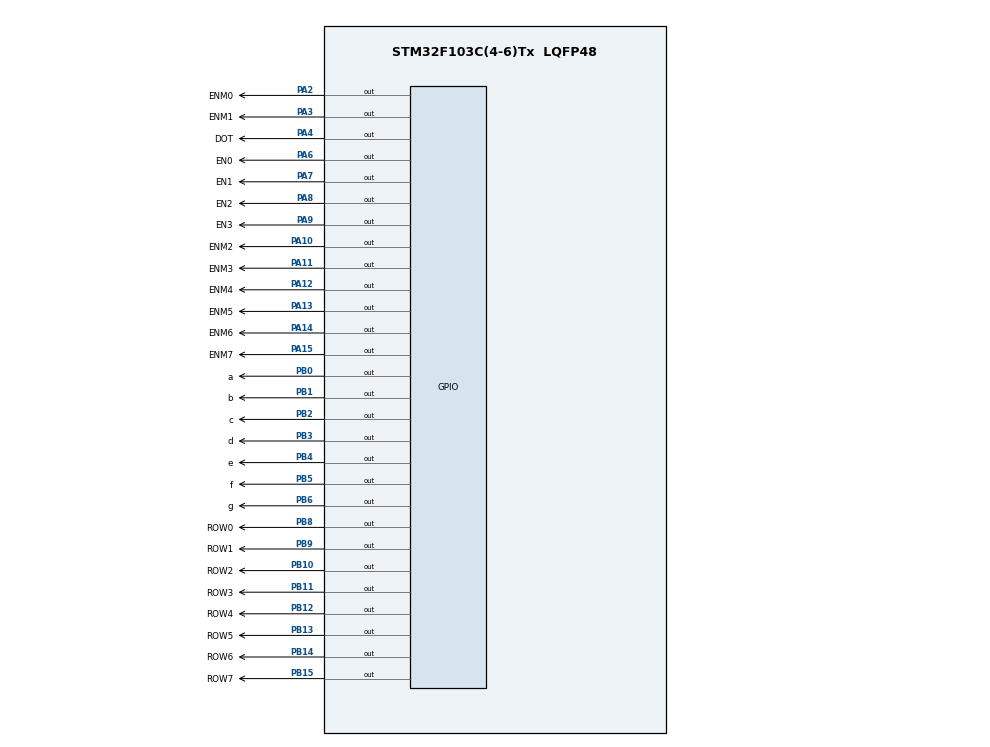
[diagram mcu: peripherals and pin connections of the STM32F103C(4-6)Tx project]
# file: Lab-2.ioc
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Mcu.Family=STM32F1
Mcu.Name=STM32F103C(4-6)Tx
Mcu.Package=LQFP48
NVIC.PriorityGroup=NVIC_PRIORITYGROUP_4
NVIC.TIM2_IRQn=true\:0\:0\:false\:false\:true\:true\:true
PA10.GPIO_Label=ENM2
PA10.Signal=GPIO_Output
PA11.GPIO_Label=ENM3
PA11.Signal=GPIO_Output
PA12.GPIO_Label=ENM4
PA12.Signal=GPIO_Output
PA13.GPIO_Label=ENM5
PA13.Signal=GPIO_Output
PA14.GPIO_Label=ENM6
PA14.Signal=GPIO_Output
PA15.GPIO_Label=ENM7
PA15.Signal=GPIO_Output
PA2.GPIO_Label=ENM0
PA2.Signal=GPIO_Output
PA3.GPIO_Label=ENM1
PA3.Signal=GPIO_Output
PA4.GPIO_Label=DOT
PA4.Signal=GPIO_Output
PA6.GPIO_Label=EN0
PA6.Signal=GPIO_Output
PA7.GPIO_Label=EN1
PA7.Signal=GPIO_Output
PA8.GPIO_Label=EN2
PA8.Signal=GPIO_Output
PA9.GPIO_Label=EN3
PA9.Signal=GPIO_Output
PB0.GPIO_Label=a
PB0.Signal=GPIO_Output
PB1.GPIO_Label=b
PB1.Signal=GPIO_Output
PB10.GPIO_Label=ROW2
PB10.Signal=GPIO_Output
PB11.GPIO_Label=ROW3
PB11.Signal=GPIO_Output
PB12.GPIO_Label=ROW4
PB12.Signal=GPIO_Output
PB13.GPIO_Label=ROW5
PB13.Signal=GPIO_Output
PB14.GPIO_Label=ROW6
PB14.Signal=GPIO_Output
PB15.GPIO_Label=ROW7
PB15.Signal=GPIO_Output
PB2.GPIO_Label=c
PB2.Signal=GPIO_Output
PB3.GPIO_Label=d
PB3.Signal=GPIO_Output
PB4.GPIO_Label=e
PB4.Signal=GPIO_Output
PB5.GPIO_Label=f
PB5.Signal=GPIO_Output
PB6.GPIO_Label=g
PB6.Signal=GPIO_Output
PB8.GPIO_Label=ROW0
PB8.Signal=GPIO_Output
PB9.GPIO_Label=ROW1
PB9.Signal=GPIO_Output
ProjectManager.HeapSize=0x200
ProjectManager.StackSize=0x400
ProjectManager.TargetToolchain=STM32CubeIDE
RCC.AHBFreq_Value=8000000
RCC.APB1Freq_Value=8000000
RCC.APB1TimFreq_Value=8000000
RCC.APB2Freq_Value=8000000
RCC.APB2TimFreq_Value=8000000
RCC.HCLKFreq_Value=8000000
TIM2.Period=9
TIM2.Prescaler=7999
VP_SYS_VS_ND.Mode=No_Debug
VP_TIM2_VS_ClockSourceINT.Mode=Internal
board=custom

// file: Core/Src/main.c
/* USER CODE BEGIN Header */
/**
  ******************************************************************************
  * @file           : main.c
  * @brief          : Main program body
  ******************************************************************************
  * @attention
  *
  * <h2><center>&copy; Copyright (c) 2023 STMicroelectronics.
  * All rights reserved.</center></h2>
  *
  * This software component is licensed by ST under BSD 3-Clause license,
  * the "License"; You may not use this file except in compliance with the
  * License. You may obtain a copy of the License at:
  *                        opensource.org/licenses/BSD-3-Clause
  *
  ******************************************************************************
  */
/* USER CODE END Header */
#include "main.h"

TIM_HandleTypeDef htim2;

void SystemClock_Config(void);
static void MX_GPIO_Init(void);
static void MX_TIM2_Init(void);
/* USER CODE BEGIN PFP */
void HAL_TIM_PeriodElapsedCallback(TIM_HandleTypeDef *htim);
void setTimer0 ( int );
void timer_run(void);
void display7SEG (unsigned int number);
void update7SEG(int);
void updateClockBuffer(int, int);
/* USER CODE END PFP */

/* USER CODE BEGIN 0 */
#define MAX_LED 4
int index_led = 0;
int led_buffer [MAX_LED] = {0 , 0 , 0 , 0};

void display7SEG (unsigned int number)
	{
		const unsigned int ON_ = 0, OFF_ = 1;

		switch (number)
		{
			case 0:
				HAL_GPIO_WritePin(a_GPIO_Port, a_Pin, ON_);
				HAL_GPIO_WritePin(b_GPIO_Port, b_Pin, ON_);
				HAL_GPIO_WritePin(c_GPIO_Port, c_Pin, ON_);
				HAL_GPIO_WritePin(d_GPIO_Port, d_Pin, ON_);
				HAL_GPIO_WritePin(e_GPIO_Port, e_Pin, ON_);
				HAL_GPIO_WritePin(f_GPIO_Port, f_Pin, ON_);
				HAL_GPIO_WritePin(g_GPIO_Port, g_Pin, OFF_);
				break;

			case 1:
				HAL_GPIO_WritePin(a_GPIO_Port, a_Pin, OFF_);
				HAL_GPIO_WritePin(b_GPIO_Port, b_Pin, ON_);
				HAL_GPIO_WritePin(c_GPIO_Port, c_Pin, ON_);
				HAL_GPIO_WritePin(d_GPIO_Port, d_Pin, OFF_);
				HAL_GPIO_WritePin(e_GPIO_Port, e_Pin, OFF_);
				HAL_GPIO_WritePin(f_GPIO_Port, f_Pin, OFF_);
				HAL_GPIO_WritePin(g_GPIO_Port, g_Pin, OFF_);
				break;

			case 2:
				HAL_GPIO_WritePin(a_GPIO_Port, a_Pin, ON_);
				HAL_GPIO_WritePin(b_GPIO_Port, b_Pin, ON_);
				HAL_GPIO_WritePin(c_GPIO_Port, c_Pin, OFF_);
				HAL_GPIO_WritePin(d_GPIO_Port, d_Pin, ON_);
				HAL_GPIO_WritePin(e_GPIO_Port, e_Pin, ON_);
				HAL_GPIO_WritePin(f_GPIO_Port, f_Pin, OFF_);
				HAL_GPIO_WritePin(g_GPIO_Port, g_Pin, ON_);
				break;

			case 3:
				HAL_GPIO_WritePin(a_GPIO_Port, a_Pin, ON_);
				HAL_GPIO_WritePin(b_GPIO_Port, b_Pin, ON_);
				HAL_GPIO_WritePin(c_GPIO_Port, c_Pin, ON_);
				HAL_GPIO_WritePin(d_GPIO_Port, d_Pin, ON_);
				HAL_GPIO_WritePin(e_GPIO_Port, e_Pin, OFF_);
				HAL_GPIO_WritePin(f_GPIO_Port, f_Pin, OFF_);
				HAL_GPIO_WritePin(g_GPIO_Port, g_Pin, ON_);
				break;

			case 4:
				HAL_GPIO_WritePin(a_GPIO_Port, a_Pin, OFF_);
				HAL_GPIO_WritePin(b_GPIO_Port, b_Pin, ON_);
				HAL_GPIO_WritePin(c_GPIO_Port, c_Pin, ON_);
				HAL_GPIO_WritePin(d_GPIO_Port, d_Pin, OFF_);
				HAL_GPIO_WritePin(e_GPIO_Port, e_Pin, OFF_);
				HAL_GPIO_WritePin(f_GPIO_Port, f_Pin, ON_);
				HAL_GPIO_WritePin(g_GPIO_Port, g_Pin, ON_);
				break;

			case 5:
				HAL_GPIO_WritePin(a_GPIO_Port, a_Pin, ON_);
				HAL_GPIO_WritePin(b_GPIO_Port, b_Pin, OFF_);
				HAL_GPIO_WritePin(c_GPIO_Port, c_Pin, ON_);
				HAL_GPIO_WritePin(d_GPIO_Port, d_Pin, ON_);
				HAL_GPIO_WritePin(e_GPIO_Port, e_Pin, OFF_);
				HAL_GPIO_WritePin(f_GPIO_Port, f_Pin, ON_);
				HAL_GPIO_WritePin(g_GPIO_Port, g_Pin, ON_);
				break;

			case 6:
				HAL_GPIO_WritePin(a_GPIO_Port, a_Pin, ON_);
				HAL_GPIO_WritePin(b_GPIO_Port, b_Pin, OFF_);
				HAL_GPIO_WritePin(c_GPIO_Port, c_Pin, ON_);
				HAL_GPIO_WritePin(d_GPIO_Port, d_Pin, ON_);
				HAL_GPIO_WritePin(e_GPIO_Port, e_Pin, ON_);
				HAL_GPIO_WritePin(f_GPIO_Port, f_Pin, ON_);
				HAL_GPIO_WritePin(g_GPIO_Port, g_Pin, ON_);
				break;

			case 7:
				HAL_GPIO_WritePin(a_GPIO_Port, a_Pin, ON_);
				HAL_GPIO_WritePin(b_GPIO_Port, b_Pin, ON_);
				HAL_GPIO_WritePin(c_GPIO_Port, c_Pin, ON_);
				HAL_GPIO_WritePin(d_GPIO_Port, d_Pin, OFF_);
				HAL_GPIO_WritePin(e_GPIO_Port, e_Pin, OFF_);
				HAL_GPIO_WritePin(f_GPIO_Port, f_Pin, OFF_);
				HAL_GPIO_WritePin(g_GPIO_Port, g_Pin, OFF_);
				break;

			case 8:
				HAL_GPIO_WritePin(a_GPIO_Port, a_Pin, ON_);
				HAL_GPIO_WritePin(b_GPIO_Port, b_Pin, ON_);
				HAL_GPIO_WritePin(c_GPIO_Port, c_Pin, ON_);
				HAL_GPIO_WritePin(d_GPIO_Port, d_Pin, ON_);
				HAL_GPIO_WritePin(e_GPIO_Port, e_Pin, ON_);
				HAL_GPIO_WritePin(f_GPIO_Port, f_Pin, ON_);
				HAL_GPIO_WritePin(g_GPIO_Port, g_Pin, ON_);
				break;

			case 9:
				HAL_GPIO_WritePin(a_GPIO_Port, a_Pin, ON_);
				HAL_GPIO_WritePin(b_GPIO_Port, b_Pin, ON_);
				HAL_GPIO_WritePin(c_GPIO_Port, c_Pin, ON_);
				HAL_GPIO_WritePin(d_GPIO_Port, d_Pin, ON_);
				HAL_GPIO_WritePin(e_GPIO_Port, e_Pin, OFF_);
				HAL_GPIO_WritePin(f_GPIO_Port, f_Pin, ON_);
				HAL_GPIO_WritePin(g_GPIO_Port, g_Pin, ON_);
				break;

			default:
				HAL_GPIO_WritePin(a_GPIO_Port, a_Pin, OFF_);
				HAL_GPIO_WritePin(b_GPIO_Port, b_Pin, OFF_);
				HAL_GPIO_WritePin(c_GPIO_Port, c_Pin, OFF_);
				HAL_GPIO_WritePin(d_GPIO_Port, d_Pin, OFF_);
				HAL_GPIO_WritePin(e_GPIO_Port, e_Pin, OFF_);
				HAL_GPIO_WritePin(f_GPIO_Port, f_Pin, OFF_);
				HAL_GPIO_WritePin(g_GPIO_Port, g_Pin, OFF_);
				break;
		}
	}

void update7SEG(int index)
{
	const int ON_ = 0, OFF_ = 1;

	switch (index)
	{
		case 0:
		{
			display7SEG(led_buffer[index]);
			HAL_GPIO_WritePin(EN0_GPIO_Port, EN0_Pin, ON_);
			HAL_GPIO_WritePin(EN1_GPIO_Port, EN1_Pin, OFF_);
			HAL_GPIO_WritePin(EN2_GPIO_Port, EN2_Pin, OFF_);
			HAL_GPIO_WritePin(EN3_GPIO_Port, EN3_Pin, OFF_);
			break;
		}

		case 1:
		{
			display7SEG(led_buffer[index]);
			HAL_GPIO_WritePin(EN0_GPIO_Port, EN0_Pin, OFF_);
			HAL_GPIO_WritePin(EN1_GPIO_Port, EN1_Pin, ON_);
			HAL_GPIO_WritePin(EN2_GPIO_Port, EN2_Pin, OFF_);
			HAL_GPIO_WritePin(EN3_GPIO_Port, EN3_Pin, OFF_);
			break;
		}

		case 2:
		{
			display7SEG(led_buffer[index]);
			HAL_GPIO_WritePin(EN0_GPIO_Port, EN0_Pin, OFF_);
			HAL_GPIO_WritePin(EN1_GPIO_Port, EN1_Pin, OFF_);
			HAL_GPIO_WritePin(EN2_GPIO_Port, EN2_Pin, ON_);
			HAL_GPIO_WritePin(EN3_GPIO_Port, EN3_Pin, OFF_);
			break;
		}

		case 3:
		{
			display7SEG(led_buffer[index]);
			HAL_GPIO_WritePin(EN0_GPIO_Port, EN0_Pin, OFF_);
			HAL_GPIO_WritePin(EN1_GPIO_Port, EN1_Pin, OFF_);
			HAL_GPIO_WritePin(EN2_GPIO_Port, EN2_Pin, OFF_);
			HAL_GPIO_WritePin(EN3_GPIO_Port, EN3_Pin, ON_);
			break;
		}
	}
}

void updateClockBuffer(int hour, int minute)
{
	led_buffer[0] = hour / 10;
	led_buffer[1] = hour % 10;
	led_buffer[2] = minute / 10;
	led_buffer[3] = minute % 10;
}

void updateLED(void)
{
	typedef enum {ON_, OFF_} state;
	static state currentState = ON_;

	switch (currentState)
	{
		case ON_:
		{
			HAL_GPIO_WritePin(DOT_GPIO_Port, DOT_Pin, 0);
			currentState = OFF_;
			break;
		}

		case OFF_:
		{
			HAL_GPIO_WritePin(DOT_GPIO_Port, DOT_Pin, 1);
			currentState = ON_;
			break;
		}

	}
}

//ex6
int timer0_counter = 0;
int timer0_flag = 0;
int timer1_counter = 0;
int timer1_flag = 0;
int timer2_counter = 0;
int timer2_flag = 0;
int TIMER_CYCLE = 10; //this is my hardware timer interrupt period, which is 10ms

void setTimer0 ( int duration ) //to reset the timer.
{
	timer0_counter = duration / TIMER_CYCLE ; //the duration must be a divisor of hardware timer period
	timer0_flag = 0;
}
void setTimer1 ( int duration ) //to reset the timer.
{
	timer1_counter = duration / TIMER_CYCLE ; //the duration must be a divisor of hardware timer period
	timer1_flag = 0;
}
void setTimer2 ( int duration ) //to reset the timer.
{
	timer2_counter = duration / TIMER_CYCLE ; //the duration must be a divisor of hardware timer period
	timer2_flag = 0;
}

void timer_run (void) {
	if( timer0_counter > 0)
	{
		timer0_counter--;
		if( timer0_counter <= 0) timer0_flag = 1; //turn on the flag, the function will run
	}
	if( timer1_counter > 0)
	{
		timer1_counter--;
		if( timer1_counter <= 0) timer1_flag = 1; //turn on the flag, the function will run
	}
	if( timer2_counter > 0)
	{
		timer2_counter--;
		if( timer2_counter <= 0) timer2_flag = 1; //turn on the flag, the function will run
	}

}

void HAL_TIM_PeriodElapsedCallback(TIM_HandleTypeDef *htim)
{
	timer_run();

}

//ex 9
const int MAX_LED_MATRIX = 8;
uint8_t matrix_buffer[8][8] = {
	{
			0b11111111,
			0b11000000,
			0b10000000,
			0b00110011,
			0b00110011,
			0b10000000,
			0b11000000,
			0b11111111
	},
	{
			0b11111111,
			0b11111111,
			0b11000000,
			0b10000000,
			0b00110011,
			0b00110011,
			0b10000000,
			0b11000000
	},
	{
			0b11000000,
			0b11111111,
			0b11111111,
			0b11000000,
			0b10000000,
			0b00110011,
			0b00110011,
			0b10000000
	},
	{
			0b10000000,
			0b11000000,
			0b11111111,
			0b11111111,
			0b11000000,
			0b10000000,
			0b00110011,
			0b00110011
	},
	{
			0b00110011,
			0b10000000,
			0b11000000,
			0b11111111,
			0b11111111,
			0b11000000,
			0b10000000,
			0b00110011
	},
	{
			0b00110011,
			0b00110011,
			0b10000000,
			0b11000000,
			0b11111111,
			0b11111111,
			0b11000000,
			0b10000000
	},
	{
			0b10000000,
			0b00110011,
			0b00110011,
			0b10000000,
			0b11000000,
			0b11111111,
			0b11111111,
			0b11000000
	},
	{
			0b11000000,
			0b10000000,
			0b00110011,
			0b00110011,
			0b10000000,
			0b11000000,
			0b11111111,
			0b11111111,
	},

};

void updateRow(int shift_index, int index){
	HAL_GPIO_WritePin(ROW0_GPIO_Port, ROW0_Pin, ((matrix_buffer[shift_index][index] >> 7) & 0b00000001));
	HAL_GPIO_WritePin(ROW1_GPIO_Port, ROW1_Pin, ((matrix_buffer[shift_index][index] >> 6) & 0b00000001));
	HAL_GPIO_WritePin(ROW2_GPIO_Port, ROW2_Pin, ((matrix_buffer[shift_index][index] >> 5) & 0b00000001));
	HAL_GPIO_WritePin(ROW3_GPIO_Port, ROW3_Pin, ((matrix_buffer[shift_index][index] >> 4) & 0b00000001));
	HAL_GPIO_WritePin(ROW4_GPIO_Port, ROW4_Pin, ((matrix_buffer[shift_index][index] >> 3) & 0b00000001));
	HAL_GPIO_WritePin(ROW5_GPIO_Port, ROW5_Pin, ((matrix_buffer[shift_index][index] >> 2) & 0b00000001));
	HAL_GPIO_WritePin(ROW6_GPIO_Port, ROW6_Pin, ((matrix_buffer[shift_index][index] >> 1) & 0b00000001));
	HAL_GPIO_WritePin(ROW7_GPIO_Port, ROW7_Pin, ((matrix_buffer[shift_index][index] >> 0) & 0b00000001));
}

void updateColumm(int index){
	switch (index){
	case 0:
		HAL_GPIO_WritePin(ENM0_GPIO_Port, ENM0_Pin, 0);
		HAL_GPIO_WritePin(ENM1_GPIO_Port, ENM1_Pin, 1);
		HAL_GPIO_WritePin(ENM2_GPIO_Port, ENM2_Pin, 1);
		HAL_GPIO_WritePin(ENM3_GPIO_Port, ENM3_Pin, 1);
		HAL_GPIO_WritePin(ENM4_GPIO_Port, ENM4_Pin, 1);
		HAL_GPIO_WritePin(ENM5_GPIO_Port, ENM5_Pin, 1);
		HAL_GPIO_WritePin(ENM6_GPIO_Port, ENM6_Pin, 1);
		HAL_GPIO_WritePin(ENM7_GPIO_Port, ENM7_Pin, 1);
		break;
	case 1:
		HAL_GPIO_WritePin(ENM0_GPIO_Port, ENM0_Pin, 1);
		HAL_GPIO_WritePin(ENM1_GPIO_Port, ENM1_Pin, 0);
		HAL_GPIO_WritePin(ENM2_GPIO_Port, ENM2_Pin, 1);
		HAL_GPIO_WritePin(ENM3_GPIO_Port, ENM3_Pin, 1);
		HAL_GPIO_WritePin(ENM4_GPIO_Port, ENM4_Pin, 1);
		HAL_GPIO_WritePin(ENM5_GPIO_Port, ENM5_Pin, 1);
		HAL_GPIO_WritePin(ENM6_GPIO_Port, ENM6_Pin, 1);
		HAL_GPIO_WritePin(ENM7_GPIO_Port, ENM7_Pin, 1);
		break;
	case 2:
		HAL_GPIO_WritePin(ENM0_GPIO_Port, ENM0_Pin, 1);
		HAL_GPIO_WritePin(ENM1_GPIO_Port, ENM1_Pin, 1);
		HAL_GPIO_WritePin(ENM2_GPIO_Port, ENM2_Pin, 0);
		HAL_GPIO_WritePin(ENM3_GPIO_Port, ENM3_Pin, 1);
		HAL_GPIO_WritePin(ENM4_GPIO_Port, ENM4_Pin, 1);
		HAL_GPIO_WritePin(ENM5_GPIO_Port, ENM5_Pin, 1);
		HAL_GPIO_WritePin(ENM6_GPIO_Port, ENM6_Pin, 1);
		HAL_GPIO_WritePin(ENM7_GPIO_Port, ENM7_Pin, 1);
		break;
	case 3:
		HAL_GPIO_WritePin(ENM0_GPIO_Port, ENM0_Pin, 1);
		HAL_GPIO_WritePin(ENM1_GPIO_Port, ENM1_Pin, 1);
		HAL_GPIO_WritePin(ENM2_GPIO_Port, ENM2_Pin, 1);
		HAL_GPIO_WritePin(ENM3_GPIO_Port, ENM3_Pin, 0);
		HAL_GPIO_WritePin(ENM4_GPIO_Port, ENM4_Pin, 1);
		HAL_GPIO_WritePin(ENM5_GPIO_Port, ENM5_Pin, 1);
		HAL_GPIO_WritePin(ENM6_GPIO_Port, ENM6_Pin, 1);
		HAL_GPIO_WritePin(ENM7_GPIO_Port, ENM7_Pin, 1);
		break;
	case 4:
		HAL_GPIO_WritePin(ENM0_GPIO_Port, ENM0_Pin, 1);
		HAL_GPIO_WritePin(ENM1_GPIO_Port, ENM1_Pin, 1);
		HAL_GPIO_WritePin(ENM2_GPIO_Port, ENM2_Pin, 1);
		HAL_GPIO_WritePin(ENM3_GPIO_Port, ENM3_Pin, 1);
		HAL_GPIO_WritePin(ENM4_GPIO_Port, ENM4_Pin, 0);
		HAL_GPIO_WritePin(ENM5_GPIO_Port, ENM5_Pin, 1);
		HAL_GPIO_WritePin(ENM6_GPIO_Port, ENM6_Pin, 1);
		HAL_GPIO_WritePin(ENM7_GPIO_Port, ENM7_Pin, 1);
		break;
	case 5:
		HAL_GPIO_WritePin(ENM0_GPIO_Port, ENM0_Pin, 1);
		HAL_GPIO_WritePin(ENM1_GPIO_Port, ENM1_Pin, 1);
		HAL_GPIO_WritePin(ENM2_GPIO_Port, ENM2_Pin, 1);
		HAL_GPIO_WritePin(ENM3_GPIO_Port, ENM3_Pin, 1);
		HAL_GPIO_WritePin(ENM4_GPIO_Port, ENM4_Pin, 1);
		HAL_GPIO_WritePin(ENM5_GPIO_Port, ENM5_Pin, 0);
		HAL_GPIO_WritePin(ENM6_GPIO_Port, ENM6_Pin, 1);
		HAL_GPIO_WritePin(ENM7_GPIO_Port, ENM7_Pin, 1);
		break;
	case 6:
		HAL_GPIO_WritePin(ENM0_GPIO_Port, ENM0_Pin, 1);
		HAL_GPIO_WritePin(ENM1_GPIO_Port, ENM1_Pin, 1);
		HAL_GPIO_WritePin(ENM2_GPIO_Port, ENM2_Pin, 1);
		HAL_GPIO_WritePin(ENM3_GPIO_Port, ENM3_Pin, 1);
		HAL_GPIO_WritePin(ENM4_GPIO_Port, ENM4_Pin, 1);
		HAL_GPIO_WritePin(ENM5_GPIO_Port, ENM5_Pin, 1);
		HAL_GPIO_WritePin(ENM6_GPIO_Port, ENM6_Pin, 0);
		HAL_GPIO_WritePin(ENM7_GPIO_Port, ENM7_Pin, 1);
		break;
	case 7:
		HAL_GPIO_WritePin(ENM0_GPIO_Port, ENM0_Pin, 1);
		HAL_GPIO_WritePin(ENM1_GPIO_Port, ENM1_Pin, 1);
		HAL_GPIO_WritePin(ENM2_GPIO_Port, ENM2_Pin, 1);
		HAL_GPIO_WritePin(ENM3_GPIO_Port, ENM3_Pin, 1);
		HAL_GPIO_WritePin(ENM4_GPIO_Port, ENM4_Pin, 1);
		HAL_GPIO_WritePin(ENM5_GPIO_Port, ENM5_Pin, 1);
		HAL_GPIO_WritePin(ENM6_GPIO_Port, ENM6_Pin, 1);
		HAL_GPIO_WritePin(ENM7_GPIO_Port, ENM7_Pin, 0);
		break;
	default:
		break;

	}
}

/* USER CODE END 0 */

int main(void)
{

  /* MCU Configuration--------------------------------------------------------*/

  /* Reset of all peripherals, Initializes the Flash interface and the Systick. */
  HAL_Init();

  /* Configure the system clock */
  SystemClock_Config();

  /* Initialize all configured peripherals */
  MX_GPIO_Init();
  MX_TIM2_Init();
  /* USER CODE BEGIN 2 */
  HAL_TIM_Base_Start_IT(&htim2); // i think this sentence add timer 2 which is initialized above to the NVIC.

	int hour = 15 , minute = 8 , second = 50;
	int index_7SEG = 0;
	int index_led_matrix = 0;
	int shift_index = 0;
	setTimer0 (1000);
	setTimer1 (200);
	setTimer2 (1000);
  /* USER CODE END 2 */

  /* Infinite loop */
  /* USER CODE BEGIN WHILE */
  while (1)
    {
	  if (timer0_flag)
	  {
		  second ++;
		  if ( second >= 60)
		  {
			  second = 0;
			  minute ++;
		  }
		  if( minute >= 60)
		  {
			  minute = 0;
			  hour ++;
		  }
		  if( hour >=24)
		  {
			  hour = 0;
		  }
		  updateClockBuffer (hour, minute);

		  update7SEG(index_7SEG++);
		  if (index_7SEG >= MAX_LED) index_7SEG = 0;

		  updateLED();

		  setTimer0 (1000);
	  }

	  if (timer1_flag)
	  {
		  setTimer1(200);
		  updateColumm	(index_led_matrix);
		  updateRow		(shift_index, index_led_matrix);

		  index_led_matrix++;
		  if (index_led_matrix >= MAX_LED_MATRIX)
			  index_led_matrix = 0;
	  }
	  if (timer2_flag)
	  {
		  setTimer2(1000);

		  shift_index++;
		  if (shift_index >= 7)
			  shift_index = 0;
	  }
	}
    /* USER CODE END WHILE */

}

void SystemClock_Config(void)
{
  RCC_OscInitTypeDef RCC_OscInitStruct = {0};
  RCC_ClkInitTypeDef RCC_ClkInitStruct = {0};

  /** Initializes the RCC Oscillators according to the specified parameters
  * in the RCC_OscInitTypeDef structure.
  */
  RCC_OscInitStruct.OscillatorType = RCC_OSCILLATORTYPE_HSI;
  RCC_OscInitStruct.HSIState = RCC_HSI_ON;
  RCC_OscInitStruct.HSICalibrationValue = RCC_HSICALIBRATION_DEFAULT;
  RCC_OscInitStruct.PLL.PLLState = RCC_PLL_NONE;
  if (HAL_RCC_OscConfig(&RCC_OscInitStruct) != HAL_OK)
  {
    Error_Handler();
  }
  /** Initializes the CPU, AHB and APB buses clocks
  */
  RCC_ClkInitStruct.ClockType = RCC_CLOCKTYPE_HCLK|RCC_CLOCKTYPE_SYSCLK
                              |RCC_CLOCKTYPE_PCLK1|RCC_CLOCKTYPE_PCLK2;
  RCC_ClkInitStruct.SYSCLKSource = RCC_SYSCLKSOURCE_HSI;
  RCC_ClkInitStruct.AHBCLKDivider = RCC_SYSCLK_DIV1;
  RCC_ClkInitStruct.APB1CLKDivider = RCC_HCLK_DIV1;
  RCC_ClkInitStruct.APB2CLKDivider = RCC_HCLK_DIV1;

  if (HAL_RCC_ClockConfig(&RCC_ClkInitStruct, FLASH_LATENCY_0) != HAL_OK)
  {
    Error_Handler();
  }
}

static void MX_TIM2_Init(void)
{

  TIM_ClockConfigTypeDef sClockSourceConfig = {0};
  TIM_MasterConfigTypeDef sMasterConfig = {0};

  htim2.Instance = TIM2;
  htim2.Init.Prescaler = 7999;
  htim2.Init.CounterMode = TIM_COUNTERMODE_UP;
  htim2.Init.Period = 9;
  htim2.Init.ClockDivision = TIM_CLOCKDIVISION_DIV1;
  htim2.Init.AutoReloadPreload = TIM_AUTORELOAD_PRELOAD_DISABLE;
  if (HAL_TIM_Base_Init(&htim2) != HAL_OK)
  {
    Error_Handler();
  }
  sClockSourceConfig.ClockSource = TIM_CLOCKSOURCE_INTERNAL;
  if (HAL_TIM_ConfigClockSource(&htim2, &sClockSourceConfig) != HAL_OK)
  {
    Error_Handler();
  }
  sMasterConfig.MasterOutputTrigger = TIM_TRGO_RESET;
  sMasterConfig.MasterSlaveMode = TIM_MASTERSLAVEMODE_DISABLE;
  if (HAL_TIMEx_MasterConfigSynchronization(&htim2, &sMasterConfig) != HAL_OK)
  {
    Error_Handler();
  }

}

static void MX_GPIO_Init(void)
{
  GPIO_InitTypeDef GPIO_InitStruct = {0};

  /* GPIO Ports Clock Enable */
  __HAL_RCC_GPIOA_CLK_ENABLE();
  __HAL_RCC_GPIOB_CLK_ENABLE();

  /*Configure GPIO pin Output Level */
  HAL_GPIO_WritePin(GPIOA, ENM0_Pin|ENM1_Pin|DOT_Pin|EN0_Pin
                          |EN1_Pin|EN2_Pin|EN3_Pin|ENM2_Pin
                          |ENM3_Pin|ENM4_Pin|ENM5_Pin|ENM6_Pin
                          |ENM7_Pin, GPIO_PIN_RESET);

  /*Configure GPIO pin Output Level */
  HAL_GPIO_WritePin(GPIOB, a_Pin|b_Pin|c_Pin|ROW2_Pin
                          |ROW3_Pin|ROW4_Pin|ROW5_Pin|ROW6_Pin
                          |ROW7_Pin|d_Pin|e_Pin|f_Pin
                          |g_Pin|ROW0_Pin|ROW1_Pin, GPIO_PIN_RESET);

  /*Configure GPIO pins : ENM0_Pin ENM1_Pin DOT_Pin EN0_Pin
                           EN1_Pin EN2_Pin EN3_Pin ENM2_Pin
                           ENM3_Pin ENM4_Pin ENM5_Pin ENM6_Pin
                           ENM7_Pin */
  GPIO_InitStruct.Pin = ENM0_Pin|ENM1_Pin|DOT_Pin|EN0_Pin
                          |EN1_Pin|EN2_Pin|EN3_Pin|ENM2_Pin
                          |ENM3_Pin|ENM4_Pin|ENM5_Pin|ENM6_Pin
                          |ENM7_Pin;
  GPIO_InitStruct.Mode = GPIO_MODE_OUTPUT_PP;
  GPIO_InitStruct.Pull = GPIO_NOPULL;
  GPIO_InitStruct.Speed = GPIO_SPEED_FREQ_LOW;
  HAL_GPIO_Init(GPIOA, &GPIO_InitStruct);

  /*Configure GPIO pins : a_Pin b_Pin c_Pin ROW2_Pin
                           ROW3_Pin ROW4_Pin ROW5_Pin ROW6_Pin
                           ROW7_Pin d_Pin e_Pin f_Pin
                           g_Pin ROW0_Pin ROW1_Pin */
  GPIO_InitStruct.Pin = a_Pin|b_Pin|c_Pin|ROW2_Pin
                          |ROW3_Pin|ROW4_Pin|ROW5_Pin|ROW6_Pin
                          |ROW7_Pin|d_Pin|e_Pin|f_Pin
                          |g_Pin|ROW0_Pin|ROW1_Pin;
  GPIO_InitStruct.Mode = GPIO_MODE_OUTPUT_PP;
  GPIO_InitStruct.Pull = GPIO_NOPULL;
  GPIO_InitStruct.Speed = GPIO_SPEED_FREQ_LOW;
  HAL_GPIO_Init(GPIOB, &GPIO_InitStruct);

}

void Error_Handler(void)
{
  __disable_irq();
  while (1)
  {
  }
}

/************************ (C) COPYRIGHT STMicroelectronics *****END OF FILE****/
